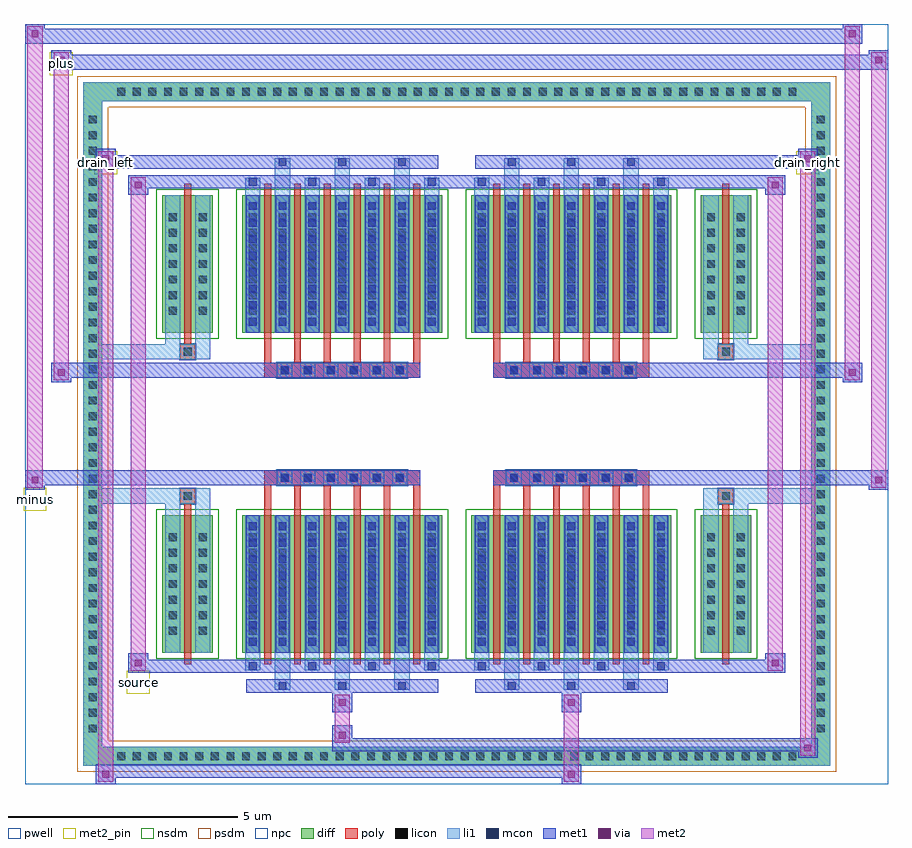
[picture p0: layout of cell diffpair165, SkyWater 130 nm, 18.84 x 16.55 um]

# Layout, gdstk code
import gdstk
lib = gdstk.Library(unit=1e-6, precision=5e-09)
def R(c, l, rs):  # rectangles x0, y0, x1, y1
    for r in rs: c.add(gdstk.rectangle(r[:2], r[2:], *l))
def A(c, l, x, y, w, h, nx, ny, dx, dy):  # array of equal rectangles
    R(c, l, [(x+i*dx, y+j*dy, x+i*dx+w, y+j*dy+h) for i in range(nx) for j in range(ny)])
def P(c, l, *ps):  # polygons
    for p in ps: c.add(gdstk.Polygon(p, *l))
pwell = (64, 44)
diff = (65, 20)
poly = (66, 20)
licon = (66, 44)
li1 = (67, 20)
mcon = (67, 44)
met1 = (68, 20)
via = (68, 44)
met2_pin = (69, 16)
met2 = (69, 20)
nsdm = (93, 44)
psdm = (94, 20)
npc = (95, 20)

diffpair165 = lib.new_cell('diffpair165')
R(diffpair165, pwell, [(-9.4,-7.84,9.4,8.71), (-6.72,-6.03,-0.01,-0.805), (0.01,-6.03,6.72,-0.805), (-6.72,0.805,-0.01,6.03), (0.01,0.805,6.72,6.03)])
A(diffpair165, diff, -7.515, -7.44, 0.41, 0.41, 44, 2, 0.34, 14.47)
A(diffpair165, diff, -8.13, -6.835, 0.41, 0.41, 1, 40, 0, 0.34)
A(diffpair165, diff, 7.72, -6.835, 0.41, 0.41, 1, 40, 0, 0.34)
R(diffpair165, diff, [(-7.515,-7.44,7.515,-7.03), (-8.13,-6.835,-7.72,6.835), (7.72,-6.835,8.13,6.835), (-6.41,-4.985,-5.31,-1.985), (-4.67,-4.985,-0.32,-1.985), (0.32,-4.985,4.67,-1.985), (5.31,-4.985,6.41,-1.985), (-6.41,1.985,-5.31,4.985), (-4.67,1.985,-0.32,4.985), (0.32,1.985,4.67,4.985), (5.31,1.985,6.41,4.985), (-7.515,7.03,7.515,7.44)])
P(diffpair165, diff, [(8.13,7.44),(-8.13,7.44),(-8.13,-7.03),(-7.72,-7.03),(-7.72,7.03),(7.72,7.03),(7.72,-7.03),(-7.72,-7.03),(-8.13,-7.03),(-8.13,-7.44),(8.13,-7.44)])
A(diffpair165, poly, -4.195, -5.235, 0.15, 3.5, 6, 2, 0.65, 6.97)
A(diffpair165, poly, 0.795, -5.235, 0.15, 3.5, 6, 2, 0.65, 6.97)
A(diffpair165, poly, -4.195, -1.735, 0.15, 0.4, 6, 2, 0.65, 3.07)
A(diffpair165, poly, 0.795, -1.735, 0.15, 0.4, 6, 2, 0.65, 3.07)
A(diffpair165, poly, -3.91, -1.335, 0.33, 0.33, 6, 2, 0.5, 2.34)
A(diffpair165, poly, 1.08, -1.335, 0.33, 0.33, 6, 2, 0.5, 2.34)
R(diffpair165, poly, [(-5.935,-5.235,-5.785,-1.735), (5.785,-5.235,5.935,-1.735), (-6.025,-1.735,-5.695,-1.405), (-6.025,-1.735,-5.695,-1.405), (5.695,-1.735,6.025,-1.405), (5.695,-1.735,6.025,-1.405), (-4.195,-1.335,-0.795,-1.005), (0.795,-1.335,4.195,-1.005), (-4.195,1.005,-0.795,1.335), (0.795,1.005,4.195,1.335), (-6.025,1.405,-5.695,1.735), (-6.025,1.405,-5.695,1.735), (5.695,1.405,6.025,1.735), (5.695,1.405,6.025,1.735), (-5.935,1.735,-5.785,5.235), (5.785,1.735,5.935,5.235)])
A(diffpair165, licon, -7.395, -7.32, 0.17, 0.17, 44, 2, 0.34, 14.47)
A(diffpair165, licon, -8.01, -6.715, 0.17, 0.17, 1, 40, 0, 0.34)
A(diffpair165, licon, 7.84, -6.715, 0.17, 0.17, 1, 40, 0, 0.34)
A(diffpair165, licon, -6.27, -4.59, 0.17, 0.17, 1, 7, 0, 0.34)
A(diffpair165, licon, -5.62, -4.59, 0.17, 0.17, 1, 7, 0, 0.34)
A(diffpair165, licon, -4.53, -4.59, 0.17, 0.17, 7, 7, 0.65, 0.34)
A(diffpair165, licon, 0.46, -4.59, 0.17, 0.17, 7, 7, 0.65, 0.34)
A(diffpair165, licon, 5.45, -4.59, 0.17, 0.17, 1, 7, 0, 0.34)
A(diffpair165, licon, 6.1, -4.59, 0.17, 0.17, 1, 7, 0, 0.34)
A(diffpair165, licon, -3.83, -1.255, 0.17, 0.17, 6, 2, 0.5, 2.34)
A(diffpair165, licon, 1.16, -1.255, 0.17, 0.17, 6, 2, 0.5, 2.34)
A(diffpair165, licon, -6.27, 2.38, 0.17, 0.17, 1, 7, 0, 0.34)
A(diffpair165, licon, -5.62, 2.38, 0.17, 0.17, 1, 7, 0, 0.34)
A(diffpair165, licon, -4.53, 2.38, 0.17, 0.17, 7, 7, 0.65, 0.34)
A(diffpair165, licon, 0.46, 2.38, 0.17, 0.17, 7, 7, 0.65, 0.34)
A(diffpair165, licon, 5.45, 2.38, 0.17, 0.17, 1, 7, 0, 0.34)
A(diffpair165, licon, 6.1, 2.38, 0.17, 0.17, 1, 7, 0, 0.34)
R(diffpair165, licon, [(-5.945,-1.655,-5.775,-1.485), (5.775,-1.655,5.945,-1.485), (-5.945,1.485,-5.775,1.655), (5.775,1.485,5.945,1.655)])
A(diffpair165, li1, -7.475, -7.4, 0.33, 0.33, 44, 2, 0.34, 14.47)
A(diffpair165, li1, -8.09, -6.795, 0.33, 0.33, 1, 40, 0, 0.34)
A(diffpair165, li1, 7.76, -6.795, 0.33, 0.33, 1, 40, 0, 0.34)
A(diffpair165, li1, -3.96, -5.79, 0.33, 0.805, 3, 2, 1.3, 10.775)
A(diffpair165, li1, -3.88, -5.79, 0.17, 0.17, 3, 2, 1.3, 11.41)
A(diffpair165, li1, 1.03, -5.79, 0.33, 0.805, 3, 2, 1.3, 10.775)
A(diffpair165, li1, 1.11, -5.79, 0.17, 0.17, 3, 2, 1.3, 11.41)
A(diffpair165, li1, -4.61, -5.36, 0.33, 0.375, 4, 2, 1.3, 10.345)
A(diffpair165, li1, -4.53, -5.36, 0.17, 0.17, 4, 2, 1.3, 10.55)
A(diffpair165, li1, 0.38, -5.36, 0.33, 0.375, 4, 2, 1.3, 10.345)
A(diffpair165, li1, 0.46, -5.36, 0.17, 0.17, 4, 2, 1.3, 10.55)
A(diffpair165, li1, -4.61, -4.985, 0.33, 3, 7, 2, 0.65, 6.97)
A(diffpair165, li1, 0.38, -4.985, 0.33, 3, 7, 2, 0.65, 6.97)
A(diffpair165, li1, -4.53, -4.83, 0.17, 0.17, 7, 8, 0.65, 0.36)
A(diffpair165, li1, -4.53, -4.83, 0.17, 2.69, 7, 2, 0.65, 6.97)
A(diffpair165, li1, 0.46, -4.83, 0.17, 0.17, 7, 8, 0.65, 0.36)
A(diffpair165, li1, 0.46, -4.83, 0.17, 2.69, 7, 2, 0.65, 6.97)
A(diffpair165, li1, -6.35, -4.67, 0.33, 0.33, 1, 7, 0, 0.34)
A(diffpair165, li1, -5.7, -4.67, 0.33, 0.33, 1, 7, 0, 0.34)
A(diffpair165, li1, -4.61, -4.67, 0.33, 0.33, 7, 7, 0.65, 0.34)
A(diffpair165, li1, 0.38, -4.67, 0.33, 0.33, 7, 7, 0.65, 0.34)
A(diffpair165, li1, 5.37, -4.67, 0.33, 0.33, 1, 7, 0, 0.34)
A(diffpair165, li1, 6.02, -4.67, 0.33, 0.33, 1, 7, 0, 0.34)
A(diffpair165, li1, -3.91, -1.335, 0.33, 0.33, 6, 2, 0.5, 2.34)
A(diffpair165, li1, 1.08, -1.335, 0.33, 0.33, 6, 2, 0.5, 2.34)
A(diffpair165, li1, -4.53, 2.14, 0.17, 0.17, 7, 8, 0.65, 0.36)
A(diffpair165, li1, 0.46, 2.14, 0.17, 0.17, 7, 8, 0.65, 0.36)
A(diffpair165, li1, -6.35, 2.3, 0.33, 0.33, 1, 7, 0, 0.34)
A(diffpair165, li1, -5.7, 2.3, 0.33, 0.33, 1, 7, 0, 0.34)
A(diffpair165, li1, -4.61, 2.3, 0.33, 0.33, 7, 7, 0.65, 0.34)
A(diffpair165, li1, 0.38, 2.3, 0.33, 0.33, 7, 7, 0.65, 0.34)
A(diffpair165, li1, 5.37, 2.3, 0.33, 0.33, 1, 7, 0, 0.34)
A(diffpair165, li1, 6.02, 2.3, 0.33, 0.33, 1, 7, 0, 0.34)
R(diffpair165, li1, [(-8.13,-7.44,-7.72,-7.03), (-8.13,-7.44,-7.72,-7.03), (-7.72,-7.44,7.72,-7.03), (7.72,-7.44,8.13,-7.03), (7.72,-7.44,8.13,-7.03), (-8.13,-7.03,-7.72,7.03), (7.72,-7.03,8.13,7.03), (-6.35,-4.985,-6.02,-1.985), (-5.7,-4.985,-5.37,-1.985), (5.37,-4.985,5.7,-1.985), (6.02,-4.985,6.35,-1.985), (-6.35,-1.985,-6.02,-1.405), (-5.7,-1.985,-5.37,-1.405), (5.37,-1.985,5.7,-1.405), (6.02,-1.985,6.35,-1.405), (-8.13,-1.735,-6.025,-1.405), (-6.35,-1.735,-6.025,-1.405), (-6.025,-1.735,-5.695,-1.405), (-5.695,-1.735,-5.37,-1.405), (5.37,-1.735,5.695,-1.405), (5.695,-1.735,6.025,-1.405), (5.695,-1.735,8.13,-1.405), (6.025,-1.735,6.35,-1.405), (-8.13,1.405,-6.025,1.735), (-6.35,1.405,-6.025,1.735), (-6.35,1.405,-6.02,1.985), (-6.025,1.405,-5.695,1.735), (-5.7,1.405,-5.37,1.985), (-5.695,1.405,-5.37,1.735), (5.37,1.405,5.695,1.735), (5.37,1.405,5.7,1.985), (5.695,1.405,6.025,1.735), (5.695,1.405,8.13,1.735), (6.02,1.405,6.35,1.985), (6.025,1.405,6.35,1.735), (-6.35,1.985,-6.02,4.985), (-5.7,1.985,-5.37,4.985), (5.37,1.985,5.7,4.985), (6.02,1.985,6.35,4.985), (-8.13,7.03,-7.72,7.44), (-8.13,7.03,-7.72,7.44), (-7.72,7.03,7.72,7.44), (7.72,7.03,8.13,7.44), (7.72,7.03,8.13,7.44)])
A(diffpair165, mcon, -3.88, -5.79, 0.17, 0.17, 3, 2, 1.3, 11.41)
A(diffpair165, mcon, 1.11, -5.79, 0.17, 0.17, 3, 2, 1.3, 11.41)
A(diffpair165, mcon, -4.53, -5.36, 0.17, 0.17, 4, 2, 1.3, 10.55)
A(diffpair165, mcon, 0.46, -5.36, 0.17, 0.17, 4, 2, 1.3, 10.55)
A(diffpair165, mcon, -4.53, -4.83, 0.17, 0.17, 7, 8, 0.65, 0.36)
A(diffpair165, mcon, 0.46, -4.83, 0.17, 0.17, 7, 8, 0.65, 0.36)
A(diffpair165, mcon, -3.83, -1.255, 0.17, 0.17, 6, 2, 0.5, 2.34)
A(diffpair165, mcon, 1.16, -1.255, 0.17, 0.17, 6, 2, 0.5, 2.34)
A(diffpair165, mcon, -4.53, 2.14, 0.17, 0.17, 7, 8, 0.65, 0.36)
A(diffpair165, mcon, 0.46, 2.14, 0.17, 0.17, 7, 8, 0.65, 0.36)
A(diffpair165, met1, -3.94, -5.85, 0.29, 0.29, 3, 2, 1.3, 11.41)
A(diffpair165, met1, 1.05, -5.85, 0.29, 0.29, 3, 2, 1.3, 11.41)
A(diffpair165, met1, -4.59, -5.42, 0.29, 0.29, 4, 2, 1.3, 10.55)
A(diffpair165, met1, 0.4, -5.42, 0.29, 0.29, 4, 2, 1.3, 10.55)
A(diffpair165, met1, -4.59, -4.985, 0.29, 3, 7, 2, 0.65, 6.97)
A(diffpair165, met1, 0.4, -4.985, 0.29, 3, 7, 2, 0.65, 6.97)
A(diffpair165, met1, -4.59, -4.89, 0.29, 0.29, 7, 8, 0.65, 0.36)
A(diffpair165, met1, 0.4, -4.89, 0.29, 0.29, 7, 8, 0.65, 0.36)
A(diffpair165, met1, -3.89, -1.315, 0.29, 0.29, 6, 2, 0.5, 2.34)
A(diffpair165, met1, 1.1, -1.315, 0.29, 0.29, 6, 2, 0.5, 2.34)
A(diffpair165, met1, -4.59, 2.08, 0.29, 0.29, 7, 8, 0.65, 0.36)
A(diffpair165, met1, 0.4, 2.08, 0.29, 0.29, 7, 8, 0.65, 0.36)
R(diffpair165, met1, [(-7.86,-7.84,-7.43,-7.41), (2.28,-7.84,2.71,-7.41), (-7.86,-7.7,2.71,-7.41), (7.43,-7.27,7.86,-6.84), (-2.71,-7.13,7.86,-6.84), (-2.71,-6.99,-2.28,-6.56), (-2.71,-6.28,-2.28,-5.85), (2.28,-6.28,2.71,-5.85), (-4.59,-5.85,-0.4,-5.56), (0.4,-5.85,4.59,-5.56), (-7.15,-5.42,-6.72,-4.99), (-7.15,-5.42,-4.59,-5.13), (-4.59,-5.42,-0.4,-5.13), (-0.4,-5.42,0.4,-5.13), (0.4,-5.42,4.59,-5.13), (4.59,-5.42,7.15,-5.13), (6.72,-5.42,7.15,-4.99), (-9.4,-1.435,-8.97,-1.005), (8.97,-1.435,9.4,-1.005), (-9.4,-1.335,-0.795,-1.005), (-4.195,-1.335,-0.795,-1.005), (0.795,-1.335,4.195,-1.005), (0.795,-1.335,9.4,-1.005), (-8.83,0.905,-8.4,1.335), (8.4,0.905,8.83,1.335), (-8.83,1.005,-4.195,1.335), (-4.195,1.005,-0.795,1.335), (0.795,1.005,4.195,1.335), (4.195,1.005,8.83,1.335), (-7.15,4.99,-6.72,5.42), (6.72,4.99,7.15,5.42), (-7.15,5.13,-4.59,5.42), (-4.59,5.13,-0.4,5.42), (-0.4,5.13,0.4,5.42), (0.4,5.13,4.59,5.42), (4.59,5.13,7.15,5.42), (-7.86,5.56,-7.43,5.99), (-7.86,5.56,-4.59,5.85), (-4.59,5.56,-0.4,5.85), (0.4,5.56,4.59,5.85), (4.59,5.56,7.86,5.85), (7.43,5.56,7.86,5.99), (-8.83,7.71,-8.4,8.14), (-8.83,7.71,-6.72,8.04), (-6.72,7.71,6.72,8.04), (6.72,7.71,9.4,8.04), (8.97,7.71,9.4,8.14), (-9.4,8.28,-8.97,8.71), (-9.4,8.28,-6.72,8.61), (-6.72,8.28,6.72,8.61), (6.72,8.28,8.83,8.61), (8.4,8.28,8.83,8.71)])
R(diffpair165, via, [(-7.72,-7.7,-7.57,-7.55), (2.42,-7.7,2.57,-7.55), (7.57,-7.13,7.72,-6.98), (-2.57,-6.85,-2.42,-6.7), (-2.57,-6.14,-2.42,-5.99), (2.42,-6.14,2.57,-5.99), (-7.01,-5.28,-6.86,-5.13), (6.86,-5.28,7.01,-5.13), (-9.26,-1.295,-9.11,-1.145), (9.11,-1.295,9.26,-1.145), (-8.69,1.045,-8.54,1.195), (8.54,1.045,8.69,1.195), (-7.01,5.13,-6.86,5.28), (6.86,5.13,7.01,5.28), (-7.72,5.7,-7.57,5.85), (7.57,5.7,7.72,5.85), (-8.69,7.85,-8.54,8), (9.11,7.85,9.26,8), (-9.26,8.42,-9.11,8.57), (8.54,8.42,8.69,8.57)])
R(diffpair165, met2_pin, [(-7.185,-5.87,-6.685,-5.37), (-9.435,-1.885,-8.935,-1.385), (-7.895,5.44,-7.395,5.94), (7.395,5.44,7.895,5.94), (-8.865,7.59,-8.365,8.09)])
R(diffpair165, met2, [(-7.81,-7.79,-7.48,-7.46), (-7.81,-7.79,-7.48,5.94), (2.33,-7.79,2.66,-7.46), (2.33,-7.46,2.66,-6.23), (7.48,-7.22,7.81,-6.89), (7.48,-7.22,7.81,5.94), (-2.66,-6.94,-2.33,-6.61), (-2.66,-6.61,-2.33,-6.23), (-2.66,-6.23,-2.33,-5.9), (2.33,-6.23,2.66,-5.9), (-7.1,-5.37,-6.77,-5.04), (-7.1,-5.37,-6.77,5.37), (6.77,-5.37,7.1,-5.04), (6.77,-5.37,7.1,5.37), (-9.35,-1.385,-9.02,-1.055), (-9.35,-1.385,-9.02,8.66), (9.02,-1.385,9.35,-1.055), (9.02,-1.385,9.35,8.09), (-8.78,0.955,-8.45,1.285), (-8.78,0.955,-8.45,8.09), (8.45,0.955,8.78,1.285), (8.45,0.955,8.78,8.66), (-7.1,5.04,-6.77,5.37), (6.77,5.04,7.1,5.37), (-7.81,5.61,-7.48,5.94), (7.48,5.61,7.81,5.94), (-8.78,7.76,-8.45,8.09), (9.02,7.76,9.35,8.09), (-9.35,8.33,-9.02,8.66), (8.45,8.33,8.78,8.66)])
P(diffpair165, met2, [(9.35,-1.385),(9.35,-1.385),(9.35,-1.055),(9.35,-1.055)],
  [(9.35,7.76),(9.35,7.76),(9.35,8.09),(9.35,8.09)],
  [(-9.02,-1.385),(-9.02,-1.385),(-9.02,-1.055),(-9.02,-1.055)],
  [(-9.02,8.33),(-9.02,8.33),(-9.02,8.66),(-9.02,8.66)],
  [(8.78,0.955),(8.78,0.955),(8.78,1.285),(8.78,1.285)],
  [(8.78,8.33),(8.78,8.33),(8.78,8.66),(8.78,8.66)],
  [(-8.45,0.955),(-8.45,0.955),(-8.45,1.285),(-8.45,1.285)],
  [(-8.45,7.76),(-8.45,7.76),(-8.45,8.09),(-8.45,8.09)],
  [(-7.48,-7.79),(-7.48,-7.79),(-7.48,-7.46),(-7.48,-7.46)],
  [(-7.48,5.61),(-7.48,5.61),(-7.48,5.94),(-7.48,5.94)],
  [(7.81,-7.22),(7.81,-7.22),(7.81,-6.89),(7.81,-6.89)],
  [(7.81,5.61),(7.81,5.61),(7.81,5.94),(7.81,5.94)],
  [(-6.77,-5.37),(-6.77,-5.37),(-6.77,-5.04),(-6.77,-5.04)],
  [(-6.77,5.04),(-6.77,5.04),(-6.77,5.37),(-6.77,5.37)],
  [(7.1,-5.37),(7.1,-5.37),(7.1,-5.04),(7.1,-5.04)],
  [(7.1,5.04),(7.1,5.04),(7.1,5.37),(7.1,5.37)])
R(diffpair165, nsdm, [(-6.54,-5.115,-5.18,-1.855), (-4.8,-5.115,-0.19,-1.855), (0.19,-5.115,4.8,-1.855), (5.18,-5.115,6.54,-1.855), (-6.54,1.855,-5.18,5.115), (-4.8,1.855,-0.19,5.115), (0.19,1.855,4.8,5.115), (5.18,1.855,6.54,5.115)])
P(diffpair165, psdm, [(8.26,7.57),(-8.26,7.57),(-8.26,-6.9),(-7.59,-6.9),(-7.59,6.9),(7.59,6.9),(7.59,-6.9),(-7.59,-6.9),(-8.26,-6.9),(-8.26,-7.57),(8.26,-7.57)])
A(diffpair165, npc, -3.93, -1.355, 0.37, 0.37, 6, 2, 0.5, 2.34)
A(diffpair165, npc, 1.06, -1.355, 0.37, 0.37, 6, 2, 0.5, 2.34)
R(diffpair165, npc, [(-6.045,-1.755,-5.675,-1.385), (5.675,-1.755,6.045,-1.385), (-3.93,-1.355,-3.06,-0.985), (-3.93,-1.355,-3.06,-0.985), (-3.43,-1.355,-2.56,-0.985), (-3.43,-1.355,-2.56,-0.985), (-2.93,-1.355,-2.06,-0.985), (-2.93,-1.355,-2.06,-0.985), (-2.43,-1.355,-1.56,-0.985), (-2.43,-1.355,-1.56,-0.985), (-1.93,-1.355,-1.06,-0.985), (-1.93,-1.355,-1.06,-0.985), (1.06,-1.355,1.93,-0.985), (1.06,-1.355,1.93,-0.985), (1.56,-1.355,2.43,-0.985), (1.56,-1.355,2.43,-0.985), (2.06,-1.355,2.93,-0.985), (2.06,-1.355,2.93,-0.985), (2.56,-1.355,3.43,-0.985), (2.56,-1.355,3.43,-0.985), (3.06,-1.355,3.93,-0.985), (3.06,-1.355,3.93,-0.985), (-3.93,0.985,-3.06,1.355), (-3.93,0.985,-3.06,1.355), (-3.43,0.985,-2.56,1.355), (-3.43,0.985,-2.56,1.355), (-2.93,0.985,-2.06,1.355), (-2.93,0.985,-2.06,1.355), (-2.43,0.985,-1.56,1.355), (-2.43,0.985,-1.56,1.355), (-1.93,0.985,-1.06,1.355), (-1.93,0.985,-1.06,1.355), (1.06,0.985,1.93,1.355), (1.06,0.985,1.93,1.355), (1.56,0.985,2.43,1.355), (1.56,0.985,2.43,1.355), (2.06,0.985,2.93,1.355), (2.06,0.985,2.93,1.355), (2.56,0.985,3.43,1.355), (2.56,0.985,3.43,1.355), (3.06,0.985,3.93,1.355), (3.06,0.985,3.93,1.355), (-6.045,1.385,-5.675,1.755), (5.675,1.385,6.045,1.755)])
diffpair165.add(gdstk.Label('minus', (-9.185,-1.635), layer=69, texttype=5))
diffpair165.add(gdstk.Label('drain_right', (7.645,5.69), layer=69, texttype=5))
diffpair165.add(gdstk.Label('drain_left', (-7.645,5.69), layer=69, texttype=5))
diffpair165.add(gdstk.Label('source', (-6.935,-5.62), layer=69, texttype=5))
diffpair165.add(gdstk.Label('plus', (-8.615,7.84), layer=69, texttype=5))

lib.write_gds('diffpair165.gds')
